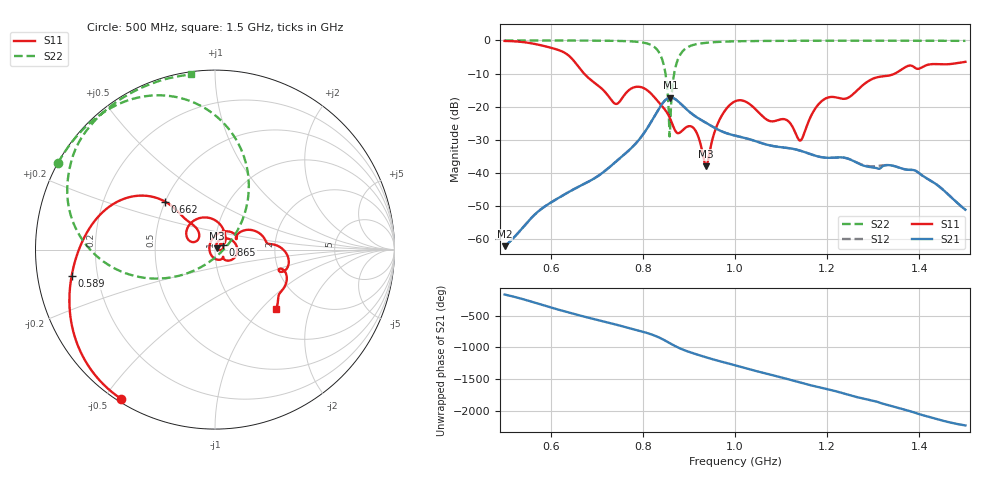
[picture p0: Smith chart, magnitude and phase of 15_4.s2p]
! TOUCHSTONE file generated by CST MICROWAVE STUDIO
! Date and time: Wed Oct 28 19:16:05 2020
! Project name: Scenario_1_Circular_Tissue_out_of_Line.cst
! Parameters = {dy1=-103.226; L_HA=400; MT=2.54; Rad_Dielectric=30; Rad_Lower=7.3; Rad_Upper=30; a_HA=580; a_WG=246; b_HA=500; b_WG=121; c_HA=0; c_WG=187; d_feed=85; dx1=693; h_feed=15; h_lower=18; h_upper=40}
! Header version: 2018
! Port assignment regex: !\s*Touchstone port\s*([0-9]+)\s*=\s*(CST MWS port|CST DS port)\s*([0-9]+|Zmin|Zmax)\s*\(\"(.*)\"\)(\s*mode\s*([0-9]+))?.*
! Touchstone port assignment:
! Touchstone port 1 = CST MWS port 1 ("")
! Touchstone port 2 = CST MWS port 2 ("")
# GHz S DB R 50
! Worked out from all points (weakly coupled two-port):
!   1001 points, 500 MHz to 1.5 GHz, reference 50 ohm
!   highest |S21| = -17.24 dB at 860 MHz (marker M1); lowest = -62.1 dB at 500 MHz (marker M2)
!   lowest |S11| = -38.1 dB at 937 MHz (marker M3), VSWR 1.03, Z = 51.1 + j0.661 ohm
!   |S11| at or under -10 dB: 672.4 MHz to 1.347 GHz (674.7 MHz wide, 66.8 % of centre)
!   |S22| runs from -29.0 to 0.0 dB; largest |S21 - S12| = 0.0013
!   S11 on the Smith chart (normalised r, x): 500 MHz: 0.01, -0.55; 589 MHz: 0.10, -0.09; 662 MHz: 0.50, +0.31; 865 MHz: 1.09, +0.06; 1.5 GHz: 1.42, -1.22
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0.5  -0.15 -122.3  -62.15 -168.0  -62.15 -168.0  -0.01 151.1
0.589  -1.80 -169.5  -49.98 11.9  -49.98 11.9  -0.02 145.0
0.662  -8.25 136.2  -44.08 -134.9  -44.08 -134.9  -0.04 138.9
0.667  -9.13 135.0  -43.73 -144.5  -43.73 -144.5  -0.04 138.4
0.74  -19.13 145.1  -36.81 82.8  -36.81 82.8  -0.13 129.3
0.779  -14.25 143.0  -31.96 8.0  -31.96 8.0  -0.32 120.7
0.834  -18.60 65.5  -20.83 -119.4  -20.83 -119.4  -3.37 83.7
0.846  -20.57 51.4  -18.42 -162.3  -18.42 -162.3  -7.79 62.5
0.855  -22.42 39.8  -17.40 161.5  -17.40 161.5  -18.40 33.2
0.86  -23.87 34.2  -17.24 141.0  -17.24 141.0  -23.40 -110.7
0.865  -25.61 32.0  -17.36 121.0  -17.36 121.0  -12.89 -141.9
0.885  -27.29 47.6  -19.50 51.7  -19.50 51.7  -3.50 -177.6
0.912  -26.79 11.1  -22.73 -18.2  -22.73 -18.2  -1.26 161.6
0.937  -38.08 31.2  -24.88 -74.7  -24.88 -74.7  -0.72 152.3
0.965  -24.37 63.0  -27.07 -132.8  -27.07 -132.8  -0.44 146.0
1  -18.40 12.9  -28.74 160.1  -28.74 160.1  -0.27 140.3
1.112  -24.03 -63.5  -32.44 -53.6  -32.44 -53.6  -0.12 128.7
1.141  -30.24 -169.0  -33.28 -111.1  -33.28 -111.1  -0.10 126.3
1.167  -22.26 89.6  -34.52 -159.7  -34.52 -159.7  -0.10 124.2
1.334  -10.61 6.6  -37.67 -109.4  -37.66 -109.5  -0.09 111.5
1.394  -8.52 -18.4  -39.53 124.3  -39.53 124.3  -0.09 106.8
1.5  -6.47 -44.2  -51.14 -66.7  -51.12 -67.6  -0.13 97.9
